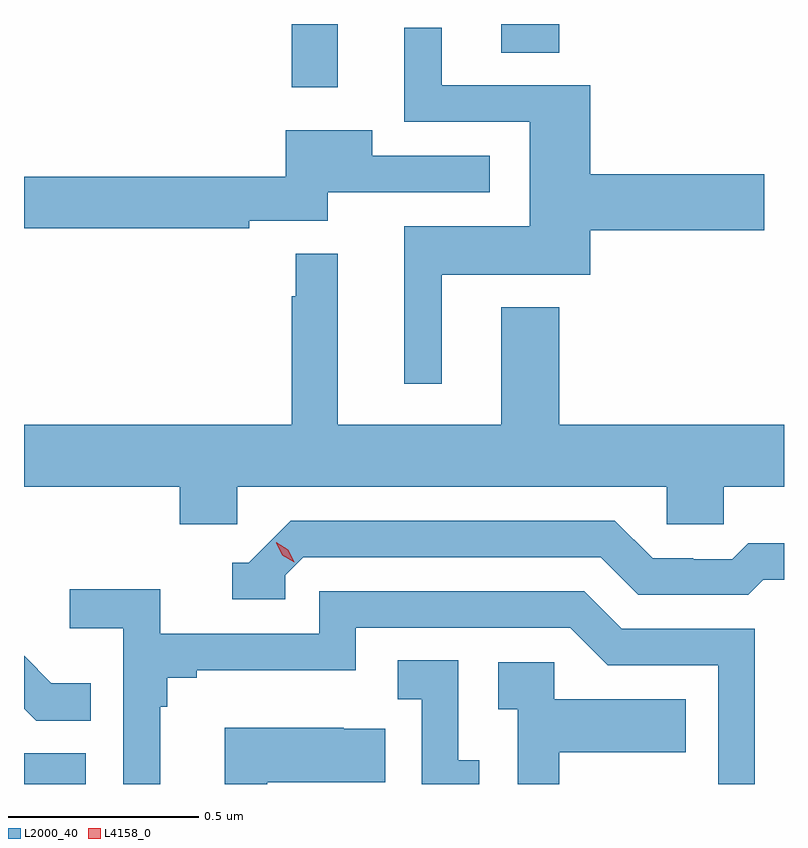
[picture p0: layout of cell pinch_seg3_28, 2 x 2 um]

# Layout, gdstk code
import gdstk
lib = gdstk.Library(unit=1e-6, precision=1e-09)
def R(c, l, rs):  # rectangles x0, y0, x1, y1
    for r in rs: c.add(gdstk.rectangle(r[:2], r[2:], *l))
def P(c, l, *ps):  # polygons
    for p in ps: c.add(gdstk.Polygon(p, *l))
L2000_40 = (2000, 40)
L4158_0 = (4158, 0)

pinch_seg3_28 = lib.new_cell('pinch_seg3_28')
R(pinch_seg3_28, L2000_40, [(1103.511,729.438,1103.674,729.519), (1104.216,731.271,1104.337,731.438), (1104.767,731.362,1104.92,731.438)])
P(pinch_seg3_28, L2000_40, [(1104.61,730.778),(1105.001,730.778),(1105.001,730.895),(1105.459,730.895),(1105.459,731.042),(1105.001,731.042),(1105.001,731.277),(1104.61,731.277),(1104.61,731.428),(1104.512,731.428),(1104.512,731.181),(1104.842,731.181),(1104.842,730.906),(1104.512,730.906),(1104.512,730.491),(1104.61,730.491)],
  [(1104.104,730.92),(1104.31,730.92),(1104.31,730.995),(1104.736,730.995),(1104.736,731.091),(1104.427,731.091),(1104.427,731.158),(1104.2,731.158),(1104.2,731.036),(1103.511,731.036),(1103.511,730.9),(1104.104,730.9)],
  [(1105.203,730.122),(1105.353,730.122),(1105.353,730.22),(1105.511,730.22),(1105.511,730.384),(1104.92,730.384),(1104.92,730.693),(1104.767,730.693),(1104.767,730.384),(1104.337,730.384),(1104.337,730.834),(1104.226,730.834),(1104.226,730.721),(1104.216,730.721),(1104.216,730.384),(1103.511,730.384),(1103.511,730.22),(1103.921,730.22),(1103.921,730.122),(1104.072,730.122),(1104.072,730.22),(1105.203,730.22)],
  [(1104.198,729.987),(1104.246,730.035),(1105.029,730.035),(1105.128,729.936),(1105.417,729.936),(1105.456,729.975),(1105.511,729.975),(1105.511,730.072),(1105.417,730.072),(1105.375,730.029),(1105.272,730.029),(1105.272,730.032),(1105.165,730.032),(1105.066,730.131),(1104.213,730.131),(1104.102,730.02),(1104.059,730.02),(1104.059,729.924),(1104.198,729.924)],
  [(1103.869,729.641),(1103.888,729.641),(1103.888,729.718),(1103.965,729.718),(1103.965,729.737),(1104.384,729.737),(1104.384,729.849),(1104.948,729.849),(1105.047,729.75),(1105.338,729.75),(1105.338,729.438),(1105.434,729.438),(1105.434,729.846),(1105.084,729.846),(1104.985,729.945),(1104.288,729.945),(1104.288,729.834),(1103.87,729.834),(1103.87,729.95),(1103.631,729.95),(1103.631,729.848),(1103.772,729.848),(1103.772,729.438),(1103.869,729.438)],
  [(1103.687,729.703),(1103.583,729.703),(1103.511,729.775),(1103.511,729.636),(1103.543,729.604),(1103.687,729.604)],
  [(1104.709,729.501),(1104.654,729.501),(1104.654,729.764),(1104.495,729.764),(1104.495,729.661),(1104.558,729.661),(1104.558,729.438),(1104.709,729.438)],
  [(1104.919,729.521),(1105.253,729.521),(1105.253,729.661),(1104.906,729.661),(1104.906,729.759),(1104.759,729.759),(1104.759,729.635),(1104.81,729.635),(1104.81,729.438),(1104.919,729.438)],
  [(1104.151,729.443),(1104.461,729.443),(1104.461,729.583),(1104.353,729.583),(1104.353,729.586),(1104.039,729.586),(1104.039,729.438),(1104.151,729.438)])
P(pinch_seg3_28, L4158_0, [(1104.222,730.021),(1104.191,730.04),(1104.175,730.073),(1104.175,730.074),(1104.175,730.074),(1104.206,730.054),(1104.222,730.021),(1104.222,730.021)])

lib.write_gds('pinch_seg3_28.gds')
